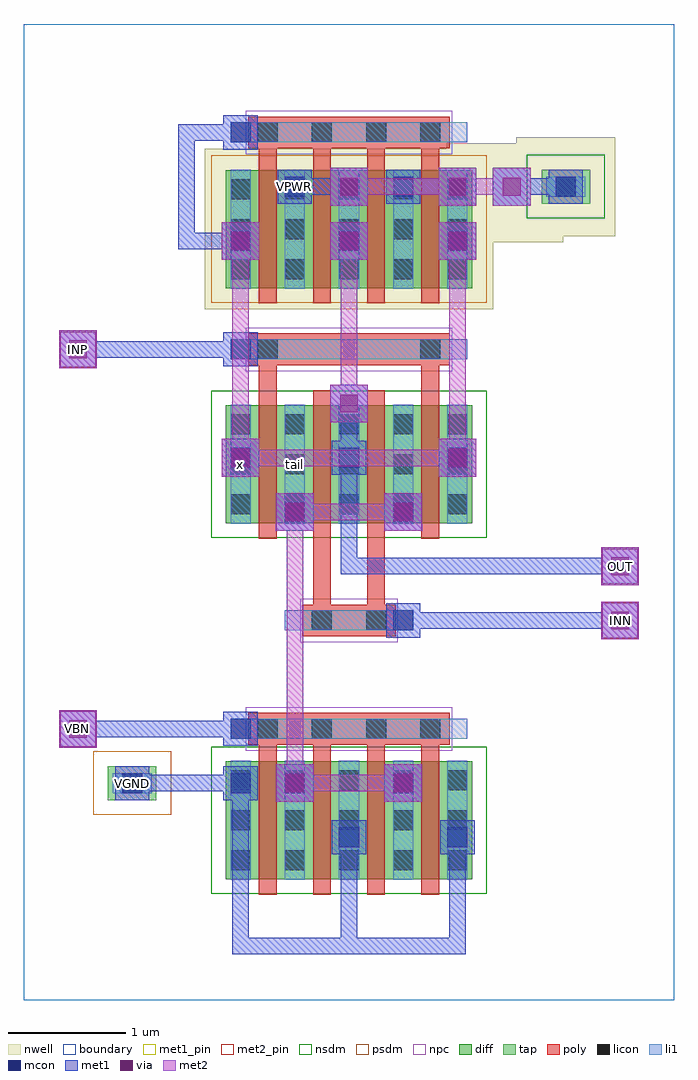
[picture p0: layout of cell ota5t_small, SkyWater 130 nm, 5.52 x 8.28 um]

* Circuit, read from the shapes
.subckt ota5t_small INN INP OUT VBN VGND VPWR tail x
XM1 tail VBN VGND VGND sky130_fd_pr__nfet_01v8 w=1 l=0.15 m=4
XM2 tail INP x VGND sky130_fd_pr__nfet_01v8 w=1 l=0.15 m=2
XM3 OUT INN tail VGND sky130_fd_pr__nfet_01v8 w=1 l=0.15 m=2
XM4 VPWR x x VPWR sky130_fd_pr__pfet_01v8 w=1 l=0.15 m=2
XM5 OUT x VPWR VPWR sky130_fd_pr__pfet_01v8 w=1 l=0.15 m=2
.ends

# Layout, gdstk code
import gdstk
lib = gdstk.Library(unit=1e-6, precision=1e-09)
def R(c, l, rs):  # rectangles x0, y0, x1, y1
    for r in rs: c.add(gdstk.rectangle(r[:2], r[2:], *l))
def A(c, l, x, y, w, h, nx, ny, dx, dy):  # array of equal rectangles
    R(c, l, [(x+i*dx, y+j*dy, x+i*dx+w, y+j*dy+h) for i in range(nx) for j in range(ny)])
nwell = (64, 20)
diff = (65, 20)
tap = (65, 44)
poly = (66, 20)
licon = (66, 44)
li1 = (67, 20)
mcon = (67, 44)
met1_pin = (68, 16)
met1 = (68, 20)
via = (68, 44)
met2_pin = (69, 16)
met2 = (69, 20)
nsdm = (93, 44)
psdm = (94, 20)
npc = (95, 20)
boundary = (235, 4)

ota5t_small = lib.new_cell('ota5t_small')
R(ota5t_small, nwell, [(1.535,5.86,3.985,6.43), (1.535,6.43,4.577,6.48), (1.535,6.48,5.02,7.22), (3.588,7.22,5.02,7.27), (4.18,7.27,5.02,7.32)])
R(ota5t_small, diff, [(1.715,1.025,3.805,2.025), (1.715,4.045,3.805,5.045), (1.715,6.04,3.805,7.04)])
R(ota5t_small, tap, [(0.715,1.695,1.125,1.985), (4.395,6.755,4.805,7.045)])
A(ota5t_small, poly, 1.995, 0.895, 0.15, 1.405, 4, 1, 0.46, 0)
A(ota5t_small, poly, 1.995, 5.91, 0.15, 1.45, 4, 1, 0.46, 0)
R(ota5t_small, poly, [(1.905,2.165,3.615,2.435), (2.365,3.085,3.155,3.355), (2.455,3.22,2.605,5.175), (2.915,3.22,3.065,5.175), (1.995,3.915,2.145,5.52), (3.375,3.915,3.525,5.52), (1.905,5.385,3.615,5.655), (1.905,7.225,3.615,7.495)])
A(ota5t_small, licon, 1.755, 1.1, 0.17, 0.17, 5, 3, 0.46, 0.34)
A(ota5t_small, licon, 1.985, 2.215, 0.17, 0.17, 4, 2, 0.46, 5.06)
A(ota5t_small, licon, 1.755, 4.12, 0.17, 0.17, 5, 3, 0.46, 0.34)
A(ota5t_small, licon, 1.755, 6.115, 0.17, 0.17, 5, 3, 0.46, 0.34)
R(ota5t_small, licon, [(0.835,1.755,1.005,1.925), (2.445,3.135,2.615,3.305), (2.905,3.135,3.075,3.305), (1.985,5.435,2.155,5.605), (3.365,5.435,3.535,5.605), (4.515,6.815,4.685,6.985)])
A(ota5t_small, li1, 1.755, 1.02, 0.17, 1.01, 5, 2, 0.46, 3.02)
A(ota5t_small, li1, 1.755, 6.035, 0.17, 1.01, 5, 1, 0.46, 0)
R(ota5t_small, li1, [(0.755,1.755,1.085,1.925), (1.755,2.215,3.765,2.385), (2.215,3.135,3.305,3.305), (1.755,5.435,3.765,5.605), (4.435,6.815,4.765,6.985), (1.755,7.275,3.765,7.445)])
A(ota5t_small, mcon, 1.755, 4.515, 0.17, 0.17, 3, 2, 0.92, 1.84)
R(ota5t_small, mcon, [(2.675,1.295,2.845,1.465), (3.595,1.295,3.765,1.465), (0.835,1.755,1.005,1.925), (1.755,1.755,1.925,1.925), (2.215,1.755,2.385,1.925), (3.135,1.755,3.305,1.925), (1.755,2.215,1.925,2.385), (3.135,3.135,3.305,3.305), (2.215,4.055,2.385,4.225), (3.135,4.055,3.305,4.225), (1.755,5.435,1.925,5.605), (2.215,6.815,2.385,6.985), (3.135,6.815,3.305,6.985), (4.515,6.815,4.685,6.985), (1.755,7.275,1.925,7.445)])
R(ota5t_small, met1_pin, [(0.85,1.77,0.99,1.91), (2.155,6.755,2.445,7.045)])
A(ota5t_small, met1, 1.695, 4.455, 0.29, 0.29, 3, 2, 0.92, 1.84)
A(ota5t_small, met1, 1.68, 6.28, 0.32, 0.32, 3, 1, 0.92, 0)
A(ota5t_small, met1, 2.23, 6.83, 0.6, 0.14, 3, 1, 0.92, 0)
R(ota5t_small, met1, [(1.77,0.39,2.83,0.53), (1.77,0.39,1.91,1.91), (2.69,0.39,2.83,1.45), (2.69,0.39,3.75,0.53), (3.61,0.39,3.75,1.45), (2.615,1.235,2.905,1.525), (3.535,1.235,3.825,1.525), (2.14,1.68,2.46,2), (3.06,1.68,3.38,2), (0.775,1.695,1.065,1.985), (1.695,1.695,1.985,1.985), (2.155,1.695,2.445,1.985), (3.075,1.695,3.365,1.985), (0.85,1.77,0.99,1.91), (0.85,1.77,1.91,1.91), (0.3,2.14,0.62,2.46), (1.695,2.155,1.985,2.445), (0.39,2.23,1.91,2.37), (4.9,3.06,5.22,3.38), (3.075,3.075,3.365,3.365), (3.15,3.15,5.13,3.29), (4.9,3.52,5.22,3.84), (2.69,3.61,2.83,4.67), (2.69,3.61,5.13,3.75), (2.14,3.98,2.46,4.3), (3.06,3.98,3.38,4.3), (2.155,3.995,2.445,4.285), (3.075,3.995,3.365,4.285), (1.68,4.44,2,4.76), (3.52,4.44,3.84,4.76), (2.69,4.53,2.83,5.13), (2.6,4.9,2.92,5.22), (0.3,5.36,0.62,5.68), (1.695,5.375,1.985,5.665), (0.39,5.45,1.91,5.59), (1.31,6.37,1.91,6.51), (1.31,6.37,1.45,7.43), (2.6,6.74,2.92,7.06), (3.52,6.74,3.84,7.06), (3.98,6.74,4.3,7.06), (2.155,6.755,2.445,7.045), (3.075,6.755,3.365,7.045), (4.455,6.755,4.745,7.045), (4.53,6.83,4.67,6.97), (1.695,7.215,1.985,7.505), (1.31,7.29,1.91,7.43)])
A(ota5t_small, via, 1.765, 6.365, 0.15, 0.15, 3, 1, 0.92, 0)
R(ota5t_small, via, [(2.225,1.765,2.375,1.915), (3.145,1.765,3.295,1.915), (0.385,2.225,0.535,2.375), (4.985,3.145,5.135,3.295), (4.985,3.605,5.135,3.755), (2.225,4.065,2.375,4.215), (3.145,4.065,3.295,4.215), (1.765,4.525,1.915,4.675), (3.605,4.525,3.755,4.675), (2.685,4.985,2.835,5.135), (0.385,5.445,0.535,5.595), (2.685,6.825,2.835,6.975), (3.605,6.825,3.755,6.975), (4.065,6.825,4.215,6.975)])
R(ota5t_small, met2_pin, [(0.31,2.15,0.61,2.45), (4.91,3.07,5.21,3.37), (4.91,3.53,5.21,3.83), (0.31,5.37,0.61,5.67)])
A(ota5t_small, met2, 1.68, 6.28, 0.32, 0.32, 3, 1, 0.92, 0)
R(ota5t_small, met2, [(2.14,1.68,2.46,2), (3.06,1.68,3.38,2), (2.23,1.77,3.29,1.91), (2.23,1.77,2.37,4.21), (0.3,2.14,0.62,2.46), (0.31,2.15,0.61,2.45), (0.39,2.23,0.53,2.37), (4.9,3.06,5.22,3.38), (4.91,3.07,5.21,3.37), (4.99,3.15,5.13,3.29), (4.9,3.52,5.22,3.84), (4.91,3.53,5.21,3.83), (4.99,3.61,5.13,3.75), (2.14,3.98,2.46,4.3), (3.06,3.98,3.38,4.3), (2.23,4.07,3.29,4.21), (1.68,4.44,2,4.76), (3.52,4.44,3.84,4.76), (1.77,4.53,1.91,6.51), (1.77,4.53,3.75,4.67), (3.61,4.53,3.75,6.51), (2.6,4.9,2.92,5.22), (2.69,4.99,2.83,6.51), (0.3,5.36,0.62,5.68), (0.31,5.37,0.61,5.67), (0.39,5.45,0.53,5.59), (2.6,6.74,2.92,7.06), (3.52,6.74,3.84,7.06), (3.98,6.74,4.3,7.06), (2.69,6.83,3.75,6.97), (3.61,6.83,4.21,6.97)])
R(ota5t_small, nsdm, [(1.59,0.9,3.93,2.15), (1.59,3.92,3.93,5.17), (4.27,6.63,4.93,7.17)])
R(ota5t_small, psdm, [(0.59,1.57,1.25,2.11), (1.59,5.915,3.93,7.165)])
R(ota5t_small, npc, [(1.885,2.115,3.635,2.485), (2.345,3.035,3.175,3.405), (1.885,5.335,3.635,5.705), (1.885,7.175,3.635,7.545)])
R(ota5t_small, boundary, [(0,0,5.52,8.28)])
ota5t_small.add(gdstk.Label('x', (1.84,4.545), layer=67, texttype=5))
ota5t_small.add(gdstk.Label('tail', (2.3,4.545), layer=67, texttype=5))
ota5t_small.add(gdstk.Label('VPWR', (2.3,6.9), layer=68, texttype=5))
ota5t_small.add(gdstk.Label('VGND', (0.92,1.84), layer=68, texttype=5))
ota5t_small.add(gdstk.Label('INP', (0.46,5.52), layer=69, texttype=5))
ota5t_small.add(gdstk.Label('INN', (5.06,3.22), layer=69, texttype=5))
ota5t_small.add(gdstk.Label('VBN', (0.46,2.3), layer=69, texttype=5))
ota5t_small.add(gdstk.Label('OUT', (5.06,3.68), layer=69, texttype=5))
ota5t_small.add(gdstk.Label('VPWR', (2.3,6.9), layer=68, texttype=16))
ota5t_small.add(gdstk.Label('VGND', (0.92,1.84), layer=68, texttype=16))
ota5t_small.add(gdstk.Label('INP', (0.46,5.52), layer=69, texttype=16))
ota5t_small.add(gdstk.Label('INN', (5.06,3.22), layer=69, texttype=16))
ota5t_small.add(gdstk.Label('VBN', (0.46,2.3), layer=69, texttype=16))
ota5t_small.add(gdstk.Label('OUT', (5.06,3.68), layer=69, texttype=16))

lib.write_gds('ota5t_small.gds')
